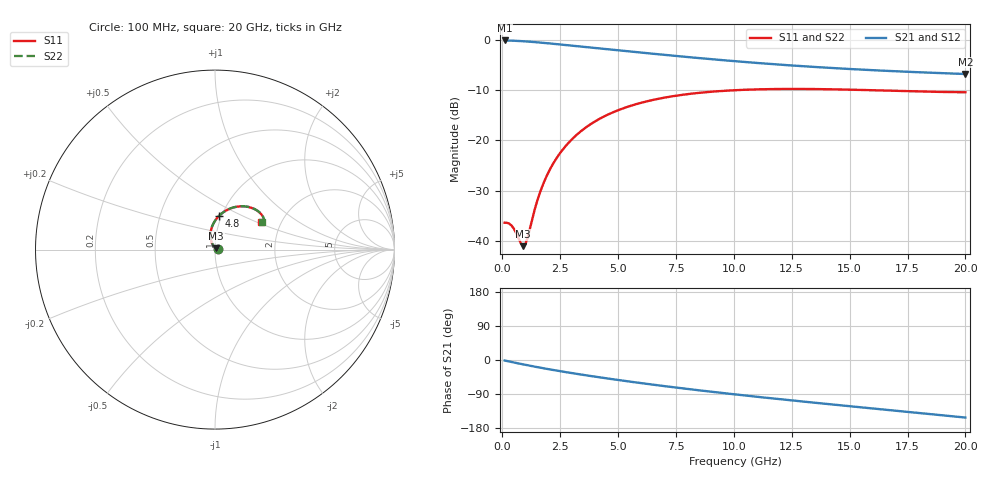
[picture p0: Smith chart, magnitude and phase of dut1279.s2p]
! Touchstone file exported from HFSS 2024.1.0
!  File:  C:/UserFiles/LocalFiles/RDL_TSV_Batchsim/temp_RDL_TSV_1279_1780276865.aedt
!  Generated:  09:37:01 AM Jun  1, 2026
!  Design:  RDL_TSV
!  Project:  temp_RDL_TSV_1279_1780276865
!  Setup:  Setup1
!  Solution:  Sweep
! Variables:
!  dtsv = 10.48um
!  hbump = 3um
!  htsv = 59.24um
!  ldown = 247um
!  lrdl = 338.16um
!  p = 40
!  p1 = 42.45um
!  rhole = 10um
!  subl = 2093.64um
!  t = 450um
!  tdown = 3.98um
!  trdl = 2.97um
!  viad = 10um
!  wdown = 28um
!  wrdl = 13.12um
!  xbump = 18um
# GHz S MA R 50.000000
! Terminal data exported
! Port[1] = TM1_1_T1
! Port[2] = TM1_4_T1
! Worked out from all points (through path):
!   200 points, 100 MHz to 20 GHz, reference 50 ohm
!   highest |S21| = -0.14 dB at 100 MHz (marker M1); lowest = -6.8 dB at 20 GHz (marker M2)
!   group delay of S21, straight-line fit = 20 ps
!   lowest |S11| = -41.1 dB at 900 MHz (marker M3), VSWR 1.02, Z = 50.5 + j0.706 ohm
!   |S11| at or under -10 dB: start of sweep to 10.21 GHz; 15.65 GHz to end of sweep
!   |S22| runs from -41.1 to -9.8 dB; largest |S21 - S12| = 8.8e-15
!   S11 on the Smith chart (normalised r, x): 100 MHz: 1.03, +0.00; 4.8 GHz: 0.97, +0.38; 20 GHz: 1.59, +0.53
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0.1  0.01513 3.1  0.9845 -1.3  0.9845 -1.3  0.01513 3.1
! Gamma 0 0 0 0
! Port Impedance 50 0 50 0
0.4  0.01417 9.6  0.9802 -5.3  0.9802 -5.3  0.01417 9.6
0.6  0.01194 17.0  0.9758 -7.8  0.9758 -7.8  0.01193 17.0
0.8  0.009425 35.9  0.9703 -10.3  0.9703 -10.3  0.009419 36.0
0.9  0.008836 52.2  0.9672 -11.5  0.9672 -11.5  0.008833 52.3
1  0.009274 70.8  0.9639 -12.8  0.9639 -12.8  0.009277 71.0
1.1  0.01088 87.0  0.9603 -14.0  0.9603 -14.0  0.0109 87.1
1.5  0.02456 112.8  0.9443 -18.7  0.9443 -18.7  0.0246 112.8
1.7  0.03354 114.9  0.9355 -21.0  0.9355 -21.0  0.03358 115.0
2  0.04831 114.3  0.9217 -24.3  0.9217 -24.3  0.04837 114.3
2.3  0.06402 111.7  0.9076 -27.5  0.9076 -27.5  0.0641 111.7
2.7  0.08564 107.2  0.8886 -31.6  0.8886 -31.6  0.08574 107.2
3.5  0.1285 97.4  0.8512 -39.3  0.8512 -39.3  0.1286 97.4
4.1  0.1586 90.4  0.8243 -44.8  0.8243 -44.8  0.1588 90.4
4.8  0.1906 82.9  0.7941 -51.0  0.7941 -51.0  0.1908 82.9
5.7  0.2259 74.3  0.7572 -58.6  0.7572 -58.6  0.2262 74.3
6.8  0.2603 65.2  0.7152 -67.4  0.7152 -67.4  0.2606 65.2
8.3  0.2932 55.1  0.6636 -78.6  0.6636 -78.6  0.2936 55.1
10.1  0.3153 45.6  0.6108 -91.1  0.6108 -91.1  0.3159 45.6
13.4  0.3236 34.3  0.538 -112.2  0.538 -112.2  0.3245 34.4
16.7  0.3115 29.6  0.4894 -132.1  0.4894 -132.1  0.3126 29.6
20  0.3005 30.5  0.4564 -151.9  0.4564 -151.9  0.3017 30.4
